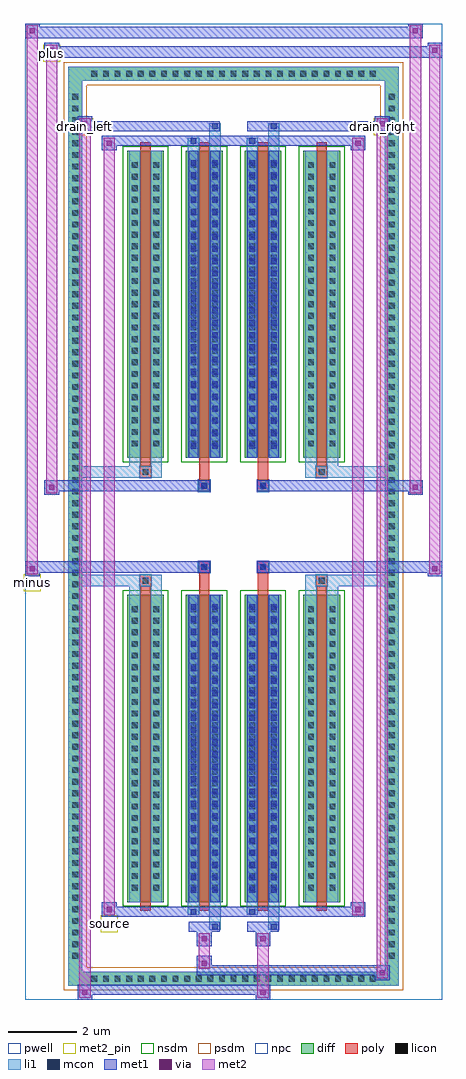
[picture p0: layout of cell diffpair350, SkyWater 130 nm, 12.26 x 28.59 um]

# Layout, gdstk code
import gdstk
lib = gdstk.Library(unit=1e-6, precision=5e-09)
def R(c, l, rs):  # rectangles x0, y0, x1, y1
    for r in rs: c.add(gdstk.rectangle(r[:2], r[2:], *l))
def A(c, l, x, y, w, h, nx, ny, dx, dy):  # array of equal rectangles
    R(c, l, [(x+i*dx, y+j*dy, x+i*dx+w, y+j*dy+h) for i in range(nx) for j in range(ny)])
def P(c, l, *ps):  # polygons
    for p in ps: c.add(gdstk.Polygon(p, *l))
pwell = (64, 44)
diff = (65, 20)
poly = (66, 20)
licon = (66, 44)
li1 = (67, 20)
mcon = (67, 44)
met1 = (68, 20)
via = (68, 44)
met2_pin = (69, 16)
met2 = (69, 20)
nsdm = (93, 44)
psdm = (94, 20)
npc = (95, 20)

diffpair350 = lib.new_cell('diffpair350')
R(diffpair350, pwell, [(-6.11,-13.86,6.11,14.73), (-3.43,-12.05,-0.01,-0.825), (0.01,-12.05,3.43,-0.825), (-3.43,0.825,-0.01,12.05), (0.01,0.825,3.43,12.05)])
A(diffpair350, diff, -4.285, -13.46, 0.41, 0.41, 25, 2, 0.34, 26.51)
A(diffpair350, diff, -4.84, -12.785, 0.41, 0.41, 1, 75, 0, 0.34)
A(diffpair350, diff, 4.43, -12.785, 0.41, 0.41, 1, 75, 0, 0.34)
A(diffpair350, diff, -3.12, -11.005, 1.08, 9, 4, 2, 1.72, 13.01)
R(diffpair350, diff, [(-4.285,-13.46,4.285,-13.05), (-4.84,-12.785,-4.43,12.785), (4.43,-12.785,4.84,12.785), (-4.285,13.05,4.285,13.46)])
P(diffpair350, diff, [(4.84,13.46),(-4.84,13.46),(-4.84,-13.05),(-4.43,-13.05),(-4.43,13.05),(4.43,13.05),(4.43,-13.05),(-4.43,-13.05),(-4.84,-13.05),(-4.84,-13.46),(4.84,-13.46)])
A(diffpair350, poly, -2.73, -11.255, 0.3, 9.5, 4, 2, 1.72, 13.01)
R(diffpair350, poly, [(-2.745,-1.755,-2.415,-1.425), (-2.745,-1.755,-2.415,-1.425), (-1.01,-1.755,-0.71,-1.355), (0.71,-1.755,1.01,-1.355), (2.415,-1.755,2.745,-1.425), (2.415,-1.755,2.745,-1.425), (-1.025,-1.355,-0.695,-1.025), (-1.025,-1.355,-0.695,-1.025), (0.695,-1.355,1.025,-1.025), (0.695,-1.355,1.025,-1.025), (-1.025,1.025,-0.695,1.355), (-1.025,1.025,-0.695,1.355), (0.695,1.025,1.025,1.355), (0.695,1.025,1.025,1.355), (-1.01,1.355,-0.71,1.755), (0.71,1.355,1.01,1.755), (-2.745,1.425,-2.415,1.755), (-2.745,1.425,-2.415,1.755), (2.415,1.425,2.745,1.755), (2.415,1.425,2.745,1.755)])
A(diffpair350, licon, -4.165, -13.34, 0.17, 0.17, 25, 2, 0.34, 26.51)
A(diffpair350, licon, -4.72, -12.665, 0.17, 0.17, 1, 75, 0, 0.34)
A(diffpair350, licon, 4.55, -12.665, 0.17, 0.17, 1, 75, 0, 0.34)
A(diffpair350, licon, -2.98, -10.67, 0.17, 0.17, 1, 25, 0, 0.34)
A(diffpair350, licon, -2.35, -10.67, 0.17, 0.17, 1, 25, 0, 0.34)
A(diffpair350, licon, -1.26, -10.67, 0.17, 0.17, 1, 25, 0, 0.34)
A(diffpair350, licon, -0.63, -10.67, 0.17, 0.17, 1, 25, 0, 0.34)
A(diffpair350, licon, 0.46, -10.67, 0.17, 0.17, 1, 25, 0, 0.34)
A(diffpair350, licon, 1.09, -10.67, 0.17, 0.17, 1, 25, 0, 0.34)
A(diffpair350, licon, 2.18, -10.67, 0.17, 0.17, 1, 25, 0, 0.34)
A(diffpair350, licon, 2.81, -10.67, 0.17, 0.17, 1, 25, 0, 0.34)
A(diffpair350, licon, -2.98, 2.34, 0.17, 0.17, 1, 25, 0, 0.34)
A(diffpair350, licon, -2.35, 2.34, 0.17, 0.17, 1, 25, 0, 0.34)
A(diffpair350, licon, -1.26, 2.34, 0.17, 0.17, 1, 25, 0, 0.34)
A(diffpair350, licon, -0.63, 2.34, 0.17, 0.17, 1, 25, 0, 0.34)
A(diffpair350, licon, 0.46, 2.34, 0.17, 0.17, 1, 25, 0, 0.34)
A(diffpair350, licon, 1.09, 2.34, 0.17, 0.17, 1, 25, 0, 0.34)
A(diffpair350, licon, 2.18, 2.34, 0.17, 0.17, 1, 25, 0, 0.34)
A(diffpair350, licon, 2.81, 2.34, 0.17, 0.17, 1, 25, 0, 0.34)
R(diffpair350, licon, [(-2.665,-1.675,-2.495,-1.505), (2.495,-1.675,2.665,-1.505), (-0.945,-1.275,-0.775,-1.105), (0.775,-1.275,0.945,-1.105), (-0.945,1.105,-0.775,1.275), (0.775,1.105,0.945,1.275), (-2.665,1.505,-2.495,1.675), (2.495,1.505,2.665,1.675)])
A(diffpair350, li1, -4.245, -13.42, 0.33, 0.33, 25, 2, 0.34, 26.51)
A(diffpair350, li1, -4.8, -12.745, 0.33, 0.33, 1, 75, 0, 0.34)
A(diffpair350, li1, 4.47, -12.745, 0.33, 0.33, 1, 75, 0, 0.34)
A(diffpair350, li1, -3.06, -10.75, 0.33, 0.33, 1, 25, 0, 0.34)
A(diffpair350, li1, -2.43, -10.75, 0.33, 0.33, 1, 25, 0, 0.34)
A(diffpair350, li1, -1.34, -10.75, 0.33, 0.33, 1, 25, 0, 0.34)
A(diffpair350, li1, -0.71, -10.75, 0.33, 0.33, 1, 25, 0, 0.34)
A(diffpair350, li1, 0.38, -10.75, 0.33, 0.33, 1, 25, 0, 0.34)
A(diffpair350, li1, 1.01, -10.75, 0.33, 0.33, 1, 25, 0, 0.34)
A(diffpair350, li1, 2.1, -10.75, 0.33, 0.33, 1, 25, 0, 0.34)
A(diffpair350, li1, 2.73, -10.75, 0.33, 0.33, 1, 25, 0, 0.34)
A(diffpair350, li1, -1.26, -10.73, 0.17, 0.17, 1, 24, 0, 0.36)
A(diffpair350, li1, -0.63, -10.73, 0.17, 0.17, 1, 24, 0, 0.36)
A(diffpair350, li1, 0.46, -10.73, 0.17, 0.17, 1, 24, 0, 0.36)
A(diffpair350, li1, 1.09, -10.73, 0.17, 0.17, 1, 24, 0, 0.36)
A(diffpair350, li1, -3.06, 2.26, 0.33, 0.33, 1, 25, 0, 0.34)
A(diffpair350, li1, -2.43, 2.26, 0.33, 0.33, 1, 25, 0, 0.34)
A(diffpair350, li1, -1.34, 2.26, 0.33, 0.33, 1, 25, 0, 0.34)
A(diffpair350, li1, -0.71, 2.26, 0.33, 0.33, 1, 25, 0, 0.34)
A(diffpair350, li1, 0.38, 2.26, 0.33, 0.33, 1, 25, 0, 0.34)
A(diffpair350, li1, 1.01, 2.26, 0.33, 0.33, 1, 25, 0, 0.34)
A(diffpair350, li1, 2.1, 2.26, 0.33, 0.33, 1, 25, 0, 0.34)
A(diffpair350, li1, 2.73, 2.26, 0.33, 0.33, 1, 25, 0, 0.34)
A(diffpair350, li1, -1.26, 2.28, 0.17, 0.17, 1, 24, 0, 0.36)
A(diffpair350, li1, -0.63, 2.28, 0.17, 0.17, 1, 24, 0, 0.36)
A(diffpair350, li1, 0.46, 2.28, 0.17, 0.17, 1, 24, 0, 0.36)
A(diffpair350, li1, 1.09, 2.28, 0.17, 0.17, 1, 24, 0, 0.36)
R(diffpair350, li1, [(-4.84,-13.46,-4.43,-13.05), (-4.84,-13.46,-4.43,-13.05), (-4.43,-13.46,4.43,-13.05), (4.43,-13.46,4.84,-13.05), (4.43,-13.46,4.84,-13.05), (-4.84,-13.05,-4.43,13.05), (4.43,-13.05,4.84,13.05), (-0.71,-11.81,-0.38,-11.005), (-0.63,-11.81,-0.46,-11.64), (1.01,-11.81,1.34,-11.005), (1.09,-11.81,1.26,-11.64), (-1.34,-11.38,-1.01,-11.005), (-1.26,-11.38,-1.09,-11.21), (0.38,-11.38,0.71,-11.005), (0.46,-11.38,0.63,-11.21), (-3.06,-11.005,-2.73,-2.005), (-2.43,-11.005,-2.1,-2.005), (-1.34,-11.005,-1.01,-2.005), (-0.71,-11.005,-0.38,-2.005), (0.38,-11.005,0.71,-2.005), (1.01,-11.005,1.34,-2.005), (2.1,-11.005,2.43,-2.005), (2.73,-11.005,3.06,-2.005), (-1.26,-10.73,-1.09,-2.28), (-0.63,-10.73,-0.46,-2.28), (0.46,-10.73,0.63,-2.28), (1.09,-10.73,1.26,-2.28), (-3.06,-2.005,-2.73,-1.425), (-2.43,-2.005,-2.1,-1.425), (2.1,-2.005,2.43,-1.425), (2.73,-2.005,3.06,-1.425), (-4.84,-1.755,-2.745,-1.425), (-3.06,-1.755,-2.745,-1.425), (-2.745,-1.755,-2.415,-1.425), (-2.415,-1.755,-2.1,-1.425), (2.1,-1.755,2.415,-1.425), (2.415,-1.755,2.745,-1.425), (2.415,-1.755,4.84,-1.425), (2.745,-1.755,3.06,-1.425), (-1.025,-1.355,-0.695,-1.025), (0.695,-1.355,1.025,-1.025), (-1.025,1.025,-0.695,1.355), (0.695,1.025,1.025,1.355), (-4.84,1.425,-2.745,1.755), (-3.06,1.425,-2.745,1.755), (-3.06,1.425,-2.73,2.005), (-2.745,1.425,-2.415,1.755), (-2.43,1.425,-2.1,2.005), (-2.415,1.425,-2.1,1.755), (2.1,1.425,2.415,1.755), (2.1,1.425,2.43,2.005), (2.415,1.425,2.745,1.755), (2.415,1.425,4.84,1.755), (2.73,1.425,3.06,2.005), (2.745,1.425,3.06,1.755), (-3.06,2.005,-2.73,11.005), (-2.43,2.005,-2.1,11.005), (-1.34,2.005,-1.01,11.005), (-0.71,2.005,-0.38,11.005), (0.38,2.005,0.71,11.005), (1.01,2.005,1.34,11.005), (2.1,2.005,2.43,11.005), (2.73,2.005,3.06,11.005), (-1.26,2.28,-1.09,10.73), (-0.63,2.28,-0.46,10.73), (0.46,2.28,0.63,10.73), (1.09,2.28,1.26,10.73), (-1.34,11.005,-1.01,11.38), (-0.71,11.005,-0.38,11.81), (0.38,11.005,0.71,11.38), (1.01,11.005,1.34,11.81), (-1.26,11.21,-1.09,11.38), (0.46,11.21,0.63,11.38), (-0.63,11.64,-0.46,11.81), (1.09,11.64,1.26,11.81), (-4.84,13.05,-4.43,13.46), (-4.84,13.05,-4.43,13.46), (-4.43,13.05,4.43,13.46), (4.43,13.05,4.84,13.46), (4.43,13.05,4.84,13.46)])
A(diffpair350, mcon, -1.26, -10.73, 0.17, 0.17, 1, 24, 0, 0.36)
A(diffpair350, mcon, -0.63, -10.73, 0.17, 0.17, 1, 24, 0, 0.36)
A(diffpair350, mcon, 0.46, -10.73, 0.17, 0.17, 1, 24, 0, 0.36)
A(diffpair350, mcon, 1.09, -10.73, 0.17, 0.17, 1, 24, 0, 0.36)
A(diffpair350, mcon, -1.26, 2.28, 0.17, 0.17, 1, 24, 0, 0.36)
A(diffpair350, mcon, -0.63, 2.28, 0.17, 0.17, 1, 24, 0, 0.36)
A(diffpair350, mcon, 0.46, 2.28, 0.17, 0.17, 1, 24, 0, 0.36)
A(diffpair350, mcon, 1.09, 2.28, 0.17, 0.17, 1, 24, 0, 0.36)
R(diffpair350, mcon, [(-0.63,-11.81,-0.46,-11.64), (1.09,-11.81,1.26,-11.64), (-1.26,-11.38,-1.09,-11.21), (0.46,-11.38,0.63,-11.21), (-0.945,-1.275,-0.775,-1.105), (0.775,-1.275,0.945,-1.105), (-0.945,1.105,-0.775,1.275), (0.775,1.105,0.945,1.275), (-1.26,11.21,-1.09,11.38), (0.46,11.21,0.63,11.38), (-0.63,11.64,-0.46,11.81), (1.09,11.64,1.26,11.81)])
A(diffpair350, met1, -1.32, -10.79, 0.29, 0.29, 1, 24, 0, 0.36)
A(diffpair350, met1, -0.69, -10.79, 0.29, 0.29, 1, 24, 0, 0.36)
A(diffpair350, met1, 0.4, -10.79, 0.29, 0.29, 1, 24, 0, 0.36)
A(diffpair350, met1, 1.03, -10.79, 0.29, 0.29, 1, 24, 0, 0.36)
A(diffpair350, met1, -1.32, 2.22, 0.29, 0.29, 1, 24, 0, 0.36)
A(diffpair350, met1, -0.69, 2.22, 0.29, 0.29, 1, 24, 0, 0.36)
A(diffpair350, met1, 0.4, 2.22, 0.29, 0.29, 1, 24, 0, 0.36)
A(diffpair350, met1, 1.03, 2.22, 0.29, 0.29, 1, 24, 0, 0.36)
R(diffpair350, met1, [(-4.57,-13.86,-4.14,-13.43), (0.645,-13.86,1.075,-13.43), (-4.57,-13.72,1.075,-13.43), (4.14,-13.29,4.57,-12.86), (-1.075,-13.15,4.57,-12.86), (-1.075,-13.01,-0.645,-12.58), (-1.075,-12.3,-0.645,-11.87), (0.645,-12.3,1.075,-11.87), (-1.32,-11.87,-0.4,-11.58), (-0.69,-11.87,-0.4,-11.58), (0.4,-11.87,1.32,-11.58), (1.03,-11.87,1.32,-11.58), (-3.86,-11.44,-3.43,-11.01), (-3.86,-11.44,-1.32,-11.15), (-1.32,-11.44,-1.03,-11.15), (-1.32,-11.44,-0.4,-11.15), (-0.4,-11.44,0.4,-11.15), (0.4,-11.44,0.69,-11.15), (0.4,-11.44,1.32,-11.15), (1.32,-11.44,3.86,-11.15), (3.43,-11.44,3.86,-11.01), (-1.32,-11.005,-1.03,-2.005), (-0.69,-11.005,-0.4,-2.005), (0.4,-11.005,0.69,-2.005), (1.03,-11.005,1.32,-2.005), (-6.11,-1.455,-5.68,-1.025), (5.68,-1.455,6.11,-1.025), (-6.11,-1.355,-0.695,-1.025), (-1.025,-1.355,-0.695,-1.025), (0.695,-1.355,1.025,-1.025), (0.695,-1.355,6.11,-1.025), (-1.005,-1.335,-0.715,-1.045), (0.715,-1.335,1.005,-1.045), (-5.54,0.925,-5.11,1.355), (5.11,0.925,5.54,1.355), (-5.54,1.025,-1.025,1.355), (-1.025,1.025,-0.695,1.355), (0.695,1.025,1.025,1.355), (1.025,1.025,5.54,1.355), (-1.005,1.045,-0.715,1.335), (0.715,1.045,1.005,1.335), (-1.32,2.005,-1.03,11.005), (-0.69,2.005,-0.4,11.005), (0.4,2.005,0.69,11.005), (1.03,2.005,1.32,11.005), (-3.86,11.01,-3.43,11.44), (3.43,11.01,3.86,11.44), (-3.86,11.15,-1.32,11.44), (-1.32,11.15,-1.03,11.44), (-1.32,11.15,-0.4,11.44), (-0.4,11.15,0.4,11.44), (0.4,11.15,0.69,11.44), (0.4,11.15,1.32,11.44), (1.32,11.15,3.86,11.44), (-4.57,11.58,-4.14,12.01), (-4.57,11.58,-1.32,11.87), (-1.32,11.58,-0.4,11.87), (-0.69,11.58,-0.4,11.87), (0.4,11.58,1.32,11.87), (1.03,11.58,1.32,11.87), (1.32,11.58,4.57,11.87), (4.14,11.58,4.57,12.01), (-5.54,13.73,-5.11,14.16), (-5.54,13.73,-3.43,14.06), (-3.43,13.73,3.43,14.06), (3.43,13.73,6.11,14.06), (5.68,13.73,6.11,14.16), (-6.11,14.3,-5.68,14.73), (-6.11,14.3,-3.43,14.63), (-3.43,14.3,3.43,14.63), (3.43,14.3,5.54,14.63), (5.11,14.3,5.54,14.73)])
R(diffpair350, via, [(-4.43,-13.72,-4.28,-13.57), (0.785,-13.72,0.935,-13.57), (4.28,-13.15,4.43,-13), (-0.935,-12.87,-0.785,-12.72), (-0.935,-12.16,-0.785,-12.01), (0.785,-12.16,0.935,-12.01), (-3.72,-11.3,-3.57,-11.15), (3.57,-11.3,3.72,-11.15), (-5.97,-1.315,-5.82,-1.165), (5.82,-1.315,5.97,-1.165), (-5.4,1.065,-5.25,1.215), (5.25,1.065,5.4,1.215), (-3.72,11.15,-3.57,11.3), (3.57,11.15,3.72,11.3), (-4.43,11.72,-4.28,11.87), (4.28,11.72,4.43,11.87), (-5.4,13.87,-5.25,14.02), (5.82,13.87,5.97,14.02), (-5.97,14.44,-5.82,14.59), (5.25,14.44,5.4,14.59)])
R(diffpair350, met2_pin, [(-3.895,-11.89,-3.395,-11.39), (-6.145,-1.905,-5.645,-1.405), (-4.605,11.46,-4.105,11.96), (4.105,11.46,4.605,11.96), (-5.575,13.61,-5.075,14.11)])
R(diffpair350, met2, [(-4.52,-13.81,-4.19,-13.48), (-4.52,-13.81,-4.19,11.96), (0.695,-13.81,1.025,-13.48), (0.695,-13.48,1.025,-12.25), (4.19,-13.24,4.52,-12.91), (4.19,-13.24,4.52,11.96), (-1.025,-12.96,-0.695,-12.63), (-1.025,-12.63,-0.695,-12.25), (-1.025,-12.25,-0.695,-11.92), (0.695,-12.25,1.025,-11.92), (-3.81,-11.39,-3.48,-11.06), (-3.81,-11.39,-3.48,11.39), (3.48,-11.39,3.81,-11.06), (3.48,-11.39,3.81,11.39), (-6.06,-1.405,-5.73,-1.075), (-6.06,-1.405,-5.73,14.68), (5.73,-1.405,6.06,-1.075), (5.73,-1.405,6.06,14.11), (-5.49,0.975,-5.16,1.305), (-5.49,0.975,-5.16,14.11), (5.16,0.975,5.49,1.305), (5.16,0.975,5.49,14.68), (-3.81,11.06,-3.48,11.39), (3.48,11.06,3.81,11.39), (-4.52,11.63,-4.19,11.96), (4.19,11.63,4.52,11.96), (-5.49,13.78,-5.16,14.11), (5.73,13.78,6.06,14.11), (-6.06,14.35,-5.73,14.68), (5.16,14.35,5.49,14.68)])
P(diffpair350, met2, [(6.06,-1.405),(6.06,-1.405),(6.06,-1.075),(6.06,-1.075)],
  [(6.06,13.78),(6.06,13.78),(6.06,14.11),(6.06,14.11)],
  [(-5.73,-1.405),(-5.73,-1.405),(-5.73,-1.075),(-5.73,-1.075)],
  [(-5.73,14.35),(-5.73,14.35),(-5.73,14.68),(-5.73,14.68)],
  [(5.49,0.975),(5.49,0.975),(5.49,1.305),(5.49,1.305)],
  [(5.49,14.35),(5.49,14.35),(5.49,14.68),(5.49,14.68)],
  [(-5.16,0.975),(-5.16,0.975),(-5.16,1.305),(-5.16,1.305)],
  [(-5.16,13.78),(-5.16,13.78),(-5.16,14.11),(-5.16,14.11)],
  [(-4.19,-13.81),(-4.19,-13.81),(-4.19,-13.48),(-4.19,-13.48)],
  [(-4.19,11.63),(-4.19,11.63),(-4.19,11.96),(-4.19,11.96)],
  [(4.52,-13.24),(4.52,-13.24),(4.52,-12.91),(4.52,-12.91)],
  [(4.52,11.63),(4.52,11.63),(4.52,11.96),(4.52,11.96)],
  [(-3.48,-11.39),(-3.48,-11.39),(-3.48,-11.06),(-3.48,-11.06)],
  [(-3.48,11.06),(-3.48,11.06),(-3.48,11.39),(-3.48,11.39)],
  [(3.81,-11.39),(3.81,-11.39),(3.81,-11.06),(3.81,-11.06)],
  [(3.81,11.06),(3.81,11.06),(3.81,11.39),(3.81,11.39)])
A(diffpair350, nsdm, -3.25, -11.135, 1.34, 9.26, 4, 2, 1.72, 13.01)
P(diffpair350, psdm, [(4.97,13.59),(-4.97,13.59),(-4.97,-12.92),(-4.3,-12.92),(-4.3,12.92),(4.3,12.92),(4.3,-12.92),(-4.3,-12.92),(-4.97,-12.92),(-4.97,-13.59),(4.97,-13.59)])
R(diffpair350, npc, [(-2.765,-1.775,-2.395,-1.405), (2.395,-1.775,2.765,-1.405), (-1.045,-1.375,-0.675,-1.005), (0.675,-1.375,1.045,-1.005), (-1.045,1.005,-0.675,1.375), (0.675,1.005,1.045,1.375), (-2.765,1.405,-2.395,1.775), (2.395,1.405,2.765,1.775)])
diffpair350.add(gdstk.Label('minus', (-5.895,-1.655), layer=69, texttype=5))
diffpair350.add(gdstk.Label('drain_right', (4.355,11.71), layer=69, texttype=5))
diffpair350.add(gdstk.Label('drain_left', (-4.355,11.71), layer=69, texttype=5))
diffpair350.add(gdstk.Label('source', (-3.645,-11.64), layer=69, texttype=5))
diffpair350.add(gdstk.Label('plus', (-5.325,13.86), layer=69, texttype=5))

lib.write_gds('diffpair350.gds')
